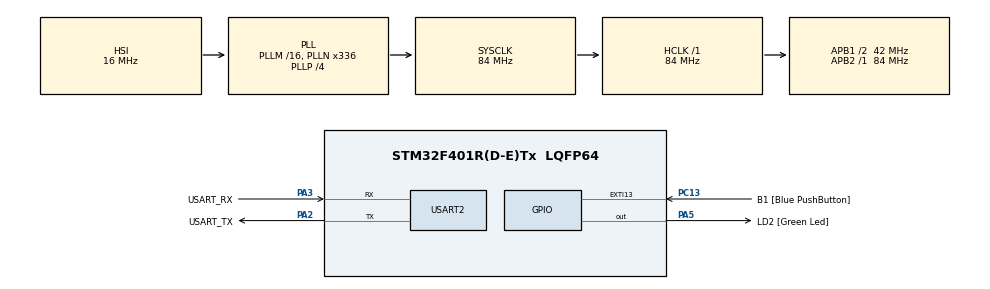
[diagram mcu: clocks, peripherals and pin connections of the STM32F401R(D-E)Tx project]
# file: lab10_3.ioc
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Mcu.Family=STM32F4
Mcu.Name=STM32F401R(D-E)Tx
Mcu.Package=LQFP64
NVIC.PriorityGroup=NVIC_PRIORITYGROUP_0
NVIC.USART2_IRQn=true\:0\:0\:false\:false\:true\:true\:true
PA13.GPIO_Label=TMS
PA13.Mode=Serial_Wire
PA13.Signal=SYS_JTMS-SWDIO
PA14.GPIO_Label=TCK
PA14.Mode=Serial_Wire
PA14.Signal=SYS_JTCK-SWCLK
PA2.GPIO_Label=USART_TX
PA2.GPIO_Mode=GPIO_MODE_AF_PP
PA2.GPIO_PuPd=GPIO_NOPULL
PA2.GPIO_Speed=GPIO_SPEED_FREQ_LOW
PA2.Mode=Asynchronous
PA2.Signal=USART2_TX
PA3.GPIO_Label=USART_RX
PA3.GPIO_Mode=GPIO_MODE_AF_PP
PA3.GPIO_PuPd=GPIO_NOPULL
PA3.GPIO_Speed=GPIO_SPEED_FREQ_LOW
PA3.Mode=Asynchronous
PA3.Signal=USART2_RX
PA5.GPIO_Label=LD2 [Green Led]
PA5.GPIO_Mode=GPIO_MODE_OUTPUT_PP
PA5.GPIO_PuPd=GPIO_NOPULL
PA5.GPIO_Speed=GPIO_SPEED_FREQ_LOW
PA5.Signal=GPIO_Output
PB3.GPIO_Label=SWO
PB3.Signal=SYS_JTDO-SWO
PC13-ANTI_TAMP.GPIO_Label=B1 [Blue PushButton]
PC13-ANTI_TAMP.GPIO_ModeDefaultEXTI=GPIO_MODE_IT_FALLING
PC13-ANTI_TAMP.GPIO_PuPd=GPIO_NOPULL
PC13-ANTI_TAMP.Signal=GPXTI13
PC14-OSC32_IN.Mode=LSE-External-Oscillator
PC14-OSC32_IN.Signal=RCC_OSC32_IN
PC15-OSC32_OUT.Mode=LSE-External-Oscillator
PC15-OSC32_OUT.Signal=RCC_OSC32_OUT
PH0\ -\ OSC_IN.Mode=HSE-External-Clock-Source
PH0\ -\ OSC_IN.Signal=RCC_OSC_IN
PH1\ -\ OSC_OUT.Mode=HSE-External-Clock-Source
PH1\ -\ OSC_OUT.Signal=RCC_OSC_OUT
ProjectManager.HeapSize=0x200
ProjectManager.StackSize=0x400
ProjectManager.TargetToolchain=STM32CubeIDE
RCC.48MHZClocksFreq_Value=48000000
RCC.AHBFreq_Value=84000000
RCC.APB1CLKDivider=RCC_HCLK_DIV2
RCC.APB1Freq_Value=42000000
RCC.APB1TimFreq_Value=84000000
RCC.APB2Freq_Value=84000000
RCC.APB2TimFreq_Value=84000000
RCC.CortexFreq_Value=84000000
RCC.HCLKFreq_Value=84000000
RCC.HSE_VALUE=8000000
RCC.HSI_VALUE=16000000
RCC.PLLN=336
RCC.PLLP=RCC_PLLP_DIV4
RCC.PLLQ=7
RCC.SYSCLKFreq_VALUE=84000000
RCC.SYSCLKSource=RCC_SYSCLKSOURCE_PLLCLK
RCC.VCOOutputFreq_Value=336000000
USART2.VirtualMode=VM_ASYNC
board=NUCLEO-F401RE

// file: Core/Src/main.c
/* USER CODE BEGIN Header */
/**
  ******************************************************************************
  * @file           : main.c
  * @brief          : Main program body
  ******************************************************************************
  * @attention
  *
  * Copyright (c) 2023 STMicroelectronics.
  * All rights reserved.
  *
  * This software is licensed under terms that can be found in the LICENSE file
  * in the root directory of this software component.
  * If no LICENSE file comes with this software, it is provided AS-IS.
  *
  ******************************************************************************
  */
/* USER CODE END Header */
#include "main.h"

UART_HandleTypeDef huart2;

/* USER CODE BEGIN PV */
volatile int correctlyReceivedData;
volatile int correctlySentData;

/* USER CODE END PV */

void SystemClock_Config(void);
static void MX_GPIO_Init(void);
static void MX_USART2_UART_Init(void);

int main(void)
{

  /* MCU Configuration--------------------------------------------------------*/

  /* Reset of all peripherals, Initializes the Flash interface and the Systick. */
  HAL_Init();

  /* Configure the system clock */
  SystemClock_Config();

  /* Initialize all configured peripherals */
  MX_GPIO_Init();
  MX_USART2_UART_Init();
  /* USER CODE BEGIN 2 */
  HAL_UART_Transmit_IT(&huart2, "1: LED toggle\n2: read button\n3: print menu\n", sizeof("1: LED toggle\n2: read button\n3: print menu\n"));
  // Prepare UART to receive a single character
  char character[2]; // Pointer to received data
  HAL_UART_Receive_IT(&huart2, character, 1);

  /* USER CODE END 2 */

  /* Infinite loop */
  /* USER CODE BEGIN WHILE */
  while (1)
  {
	  // Check TX flag
	  if (correctlySentData == 1) {
		  correctlySentData = 0;
	  	  // …
	  }
	  // Check RX flag
	  if (correctlyReceivedData == 1) {
		  correctlyReceivedData = 0;

		  if(character[0]=='1'){
			  //HAL_UART_Transmit_IT(&huart2, "Ricevuto1", sizeof("Ricevuto1"));
			  HAL_GPIO_TogglePin(GPIOA, GPIO_PIN_5);
		  } else if(character[0]=='2'){
			  if(HAL_GPIO_ReadPin(GPIOC, GPIO_PIN_13)){
				  HAL_UART_Transmit_IT(&huart2, "RELASED\n", sizeof("RELASED\n"));
			  }else{
				  HAL_UART_Transmit_IT(&huart2, "PRESSED\n", sizeof("PRESSED\n"));
			  }
		  }else if(character[0]=='3'){
			  HAL_UART_Transmit_IT(&huart2, "1: LED toggle\n2: read button\n3: print menu\n", sizeof("1: LED toggle\n2: read button\n3: print menu\n"));
		  }else{
			  HAL_UART_Transmit_IT(&huart2, "comando sbagliato\n", sizeof("comando sbagliato\n"));
		  }
		  HAL_UART_Receive_IT(&huart2, character, 1);
	  	  // …

	  }

    /* USER CODE END WHILE */

  }
}

void SystemClock_Config(void)
{
  RCC_OscInitTypeDef RCC_OscInitStruct = {0};
  RCC_ClkInitTypeDef RCC_ClkInitStruct = {0};

  /** Configure the main internal regulator output voltage
  */
  __HAL_RCC_PWR_CLK_ENABLE();
  __HAL_PWR_VOLTAGESCALING_CONFIG(PWR_REGULATOR_VOLTAGE_SCALE2);
  /** Initializes the RCC Oscillators according to the specified parameters
  * in the RCC_OscInitTypeDef structure.
  */
  RCC_OscInitStruct.OscillatorType = RCC_OSCILLATORTYPE_HSI;
  RCC_OscInitStruct.HSIState = RCC_HSI_ON;
  RCC_OscInitStruct.HSICalibrationValue = RCC_HSICALIBRATION_DEFAULT;
  RCC_OscInitStruct.PLL.PLLState = RCC_PLL_ON;
  RCC_OscInitStruct.PLL.PLLSource = RCC_PLLSOURCE_HSI;
  RCC_OscInitStruct.PLL.PLLM = 16;
  RCC_OscInitStruct.PLL.PLLN = 336;
  RCC_OscInitStruct.PLL.PLLP = RCC_PLLP_DIV4;
  RCC_OscInitStruct.PLL.PLLQ = 7;
  if (HAL_RCC_OscConfig(&RCC_OscInitStruct) != HAL_OK)
  {
    Error_Handler();
  }
  /** Initializes the CPU, AHB and APB buses clocks
  */
  RCC_ClkInitStruct.ClockType = RCC_CLOCKTYPE_HCLK|RCC_CLOCKTYPE_SYSCLK
                              |RCC_CLOCKTYPE_PCLK1|RCC_CLOCKTYPE_PCLK2;
  RCC_ClkInitStruct.SYSCLKSource = RCC_SYSCLKSOURCE_PLLCLK;
  RCC_ClkInitStruct.AHBCLKDivider = RCC_SYSCLK_DIV1;
  RCC_ClkInitStruct.APB1CLKDivider = RCC_HCLK_DIV2;
  RCC_ClkInitStruct.APB2CLKDivider = RCC_HCLK_DIV1;

  if (HAL_RCC_ClockConfig(&RCC_ClkInitStruct, FLASH_LATENCY_2) != HAL_OK)
  {
    Error_Handler();
  }
}

static void MX_USART2_UART_Init(void)
{

  huart2.Instance = USART2;
  huart2.Init.BaudRate = 115200;
  huart2.Init.WordLength = UART_WORDLENGTH_8B;
  huart2.Init.StopBits = UART_STOPBITS_1;
  huart2.Init.Parity = UART_PARITY_NONE;
  huart2.Init.Mode = UART_MODE_TX_RX;
  huart2.Init.HwFlowCtl = UART_HWCONTROL_NONE;
  huart2.Init.OverSampling = UART_OVERSAMPLING_16;
  if (HAL_UART_Init(&huart2) != HAL_OK)
  {
    Error_Handler();
  }

}

static void MX_GPIO_Init(void)
{
  GPIO_InitTypeDef GPIO_InitStruct = {0};

  /* GPIO Ports Clock Enable */
  __HAL_RCC_GPIOC_CLK_ENABLE();
  __HAL_RCC_GPIOH_CLK_ENABLE();
  __HAL_RCC_GPIOA_CLK_ENABLE();
  __HAL_RCC_GPIOB_CLK_ENABLE();

  /*Configure GPIO pin Output Level */
  HAL_GPIO_WritePin(LD2_GPIO_Port, LD2_Pin, GPIO_PIN_RESET);

  /*Configure GPIO pin : B1_Pin */
  GPIO_InitStruct.Pin = B1_Pin;
  GPIO_InitStruct.Mode = GPIO_MODE_IT_FALLING;
  GPIO_InitStruct.Pull = GPIO_NOPULL;
  HAL_GPIO_Init(B1_GPIO_Port, &GPIO_InitStruct);

  /*Configure GPIO pin : LD2_Pin */
  GPIO_InitStruct.Pin = LD2_Pin;
  GPIO_InitStruct.Mode = GPIO_MODE_OUTPUT_PP;
  GPIO_InitStruct.Pull = GPIO_NOPULL;
  GPIO_InitStruct.Speed = GPIO_SPEED_FREQ_LOW;
  HAL_GPIO_Init(LD2_GPIO_Port, &GPIO_InitStruct);

}

/* USER CODE BEGIN 4 */

void HAL_UART_TxCpltCallback (UART_HandleTypeDef *huart){
	//Set TX flag
 	correctlySentData = 1;
}

void HAL_UART_RxCpltCallback (UART_HandleTypeDef *huart){
	// Set RX flag
	correctlyReceivedData = 1;
}

/* USER CODE END 4 */

void Error_Handler(void)
{
  __disable_irq();
  while (1)
  {
  }
}
